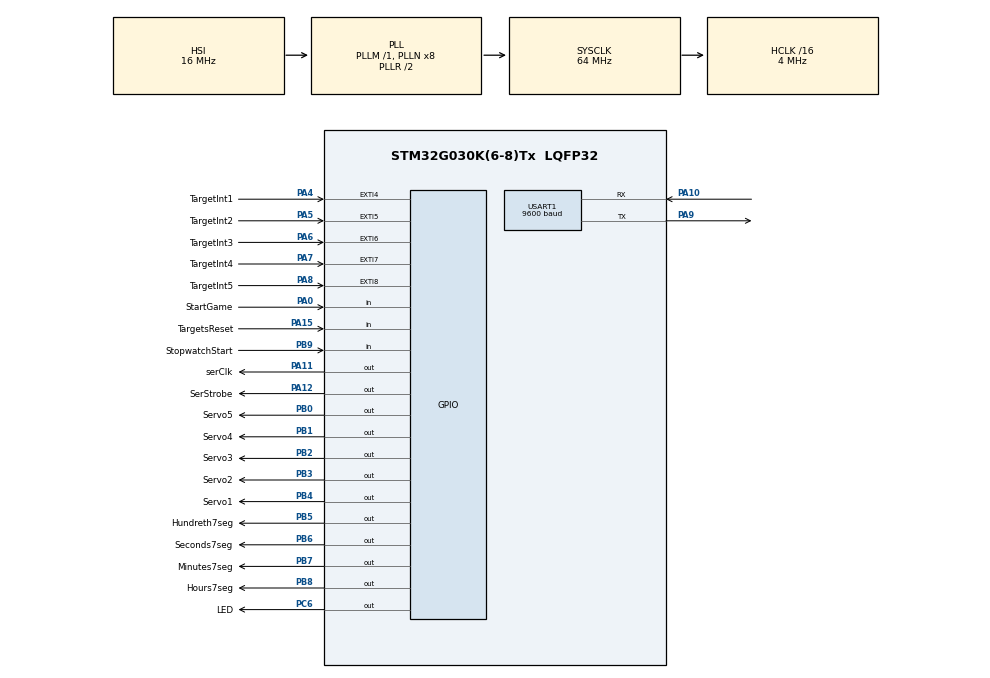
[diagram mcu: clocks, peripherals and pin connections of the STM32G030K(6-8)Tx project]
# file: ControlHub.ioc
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Mcu.Family=STM32G0
Mcu.Name=STM32G030K(6-8)Tx
Mcu.Package=LQFP32
NVIC.EXTI4_15_IRQn=true\:0\:0\:false\:false\:true\:true\:true\:true
NVIC.USART1_IRQn=true\:0\:0\:false\:false\:true\:true\:true\:true
PA0.GPIO_Label=StartGame
PA0.GPIO_PuPd=GPIO_PULLUP
PA0.Signal=GPIO_Input
PA10.Mode=Asynchronous
PA10.Signal=USART1_RX
PA11\ [PA9].GPIO_Label=serClk
PA11\ [PA9].Signal=GPIO_Output
PA12\ [PA10].GPIO_Label=SerStrobe
PA12\ [PA10].Signal=GPIO_Output
PA15.GPIO_Label=TargetsReset
PA15.Signal=GPIO_Input
PA4.GPIO_Label=TargetInt1
PA4.GPIO_PuPd=GPIO_PULLDOWN
PA4.Signal=GPXTI4
PA5.GPIO_Label=TargetInt2
PA5.GPIO_PuPd=GPIO_PULLDOWN
PA5.Signal=GPXTI5
PA6.GPIO_Label=TargetInt3
PA6.GPIO_PuPd=GPIO_PULLDOWN
PA6.Signal=GPXTI6
PA7.GPIO_Label=TargetInt4
PA7.GPIO_PuPd=GPIO_PULLDOWN
PA7.Signal=GPXTI7
PA8.GPIO_Label=TargetInt5
PA8.GPIO_PuPd=GPIO_PULLDOWN
PA8.Signal=GPXTI8
PA9.Mode=Asynchronous
PA9.Signal=USART1_TX
PB0.GPIO_Label=Servo5
PB0.Signal=GPIO_Output
PB1.GPIO_Label=Servo4
PB1.Signal=GPIO_Output
PB2.GPIO_Label=Servo3
PB2.PinState=GPIO_PIN_SET
PB2.Signal=GPIO_Output
PB3.GPIO_Label=Servo2
PB3.PinState=GPIO_PIN_RESET
PB3.Signal=GPIO_Output
PB4.GPIO_Label=Servo1
PB4.PinState=GPIO_PIN_RESET
PB4.Signal=GPIO_Output
PB5.GPIO_Label=Hundreth7seg
PB5.Signal=GPIO_Output
PB6.GPIO_Label=Seconds7seg
PB6.Signal=GPIO_Output
PB7.GPIO_Label=Minutes7seg
PB7.Signal=GPIO_Output
PB8.GPIO_Label=Hours7seg
PB8.Signal=GPIO_Output
PB9.GPIO_Label=StopwatchStart
PB9.Signal=GPIO_Input
PC6.GPIO_Label=LED
PC6.Signal=GPIO_Output
ProjectManager.HeapSize=0x200
ProjectManager.StackSize=0x400
ProjectManager.TargetToolchain=STM32CubeIDE
RCC.ADCFreq_Value=64000000
RCC.AHBCLKDivider=RCC_SYSCLK_DIV16
RCC.AHBFreq_Value=4000000
RCC.APB1CLKDivider=RCC_HCLK_DIV8
RCC.CortexFreq_Value=4000000
RCC.EXTERNAL_CLOCK_VALUE=12288000
RCC.HCLKFreq_Value=4000000
RCC.HSE_VALUE=8000000
RCC.HSI_VALUE=16000000
RCC.LSE_VALUE=32768
RCC.SYSCLKFreq_VALUE=64000000
RCC.SYSCLKSource=RCC_SYSCLKSOURCE_PLLCLK
RCC.VCOOutputFreq_Value=128000000
USART1.BaudRate=9600
USART1.VirtualMode-Asynchronous=VM_ASYNC
VP_TIM16_VS_ClockSourceINT.Mode=Enable_Timer
board=custom

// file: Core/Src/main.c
/* USER CODE BEGIN Header */
/**
  ******************************************************************************
  * @file           : main.c
  * @brief          : Main program body
  ******************************************************************************
  * @attention
  *
  * Copyright (c) 2024 STMicroelectronics.
  * All rights reserved.
  *
  * This software is licensed under terms that can be found in the LICENSE file
  * in the root directory of this software component.
  * If no LICENSE file comes with this software, it is provided AS-IS.
  *
  ******************************************************************************
  ******************************************************************************
  * Software intended for the ST32G030K6T6 MCU for Biathlon Toy Targets, version
  * 2.0 2024.
  *
  * MCU resources in use:
  * SWDIO & SWCLK for ST-Link communication.
  * 2 GPIOs for UART communication for debug
  * 5 GPIOs for external interrupts
  * 5 GPIOs for operating 5 individual analog servo-motors.
  * 2 GPIOs for detecting Game Start and Game Reset.
  * 6 GPIOs for sending data to 4 dual big 7-Segment displays for time
  * measurement. 2 common lines for clock and strobe and 4 GPIOs for serial
  * data.
  *
  * Internal Timer for microseconds delay
  *
  */
/* USER CODE END Header */
#include "main.h"

/* USER CODE BEGIN PD */
#define TARGET_HIT 1
#define COVER_RESET 0
#define ALL_HIT 0x001f
#define SHOW_RESULT_DURATION 3000 //*0.004 = 12 sec. - should be sufficient.
#define ONE_HOUR 3600000
#define ONE_MINUTE 60000
#define GET_SYS_TICK
// the result is shown, if all targets has been hit.

/* USER CODE END PD */

TIM_HandleTypeDef htim16;

UART_HandleTypeDef huart1;

void SystemClock_Config(void);
static void MX_GPIO_Init(void);
static void MX_USART1_UART_Init(void);
static void MX_TIM16_Init(void);
/* USER CODE BEGIN PFP */

int _write(int fd, char *ptr, int len) {
	//HAL_UART_Transmit(&huart1, (uint8_t *) ptr, len, HAL_MAX_DELAY);
	HAL_UART_Transmit(&huart1, (uint8_t*) ptr, len, 1000);
	return len;
}

/* USER CODE END PFP */

/* USER CODE BEGIN 0 */
uint8_t UART1_rxBuffer = 0;
uint8_t cmdComplete;
char termInputBuffer[80];
int bytesReceived = 0;
uint16_t targetState;
uint16_t targetHitIndication = 0;

enum stop_watch_state {
   RUNNING,
   STOPPED,
   RESET_
} stopWatchState = RESET_;

// The HAL_UART_TxCpltCallback(), HAL_UART_RxCpltCallback() user callbacks
// will be executed respectively at the end of the transmit or Receive process
// ref. stm32g0xx_hal_uart.c line 1037.
#ifdef UART_RX_READY
void HAL_UART_RxCpltCallback(UART_HandleTypeDef *huart) {
	if (UART1_rxBuffer == 13) {
		if (bytesReceived > 0) {
			//executeCmd(&termInputBuffer[0], bytesReceived);
			bytesReceived = 0;
			memset(termInputBuffer, 0, 80);
		} else {
			promt();
		}
		HAL_UART_Receive_IT(&huart1, &UART1_rxBuffer, 1);
		return;
	}
	HAL_UART_Transmit(&huart1, &UART1_rxBuffer, 1, 100);
	termInputBuffer[bytesReceived] = UART1_rxBuffer;
	bytesReceived++;
	// re-trigger the interrupt...
	HAL_UART_Receive_IT(&huart1, &UART1_rxBuffer, 1);
}
#endif

void delay_us(volatile uint16_t au16_us)
{
   htim16.Instance->CNT = 0;
   while (htim16.Instance->CNT < au16_us);
}

// delay_us(2200); max counterclockwise (165 degrees)
// delay_us(1300); middle? (90 degrees)
void coverReset(uint16_t servoPin) {
   for (int i=0; i<20; i++) {
      HAL_GPIO_WritePin(GPIOB, servoPin, GPIO_PIN_SET); // RESET for neg-logic for level conversion...
      delay_us(2000);
      HAL_GPIO_WritePin(GPIOB, servoPin, GPIO_PIN_RESET); // SET for neg-logic for level conversion...
      HAL_Delay(18);
   }
   targetState &= ~servoPin;
}

void resetAllTargets(void) {
   for (int i=0; i<5; i++)
      coverReset(1<<i);
}

void HAL_GPIO_EXTI_Rising_Callback(uint16_t GPIO_Pin) {
   // See https://www.geeksforgeeks.org/c-switch-statement/ especially for how
   // the flowchart for the switch-statement is drawn...
   //uint8_t target = 0;

   if (targetHitIndication != 0)
      return;

   switch (GPIO_Pin) {
      case TargetInt1_Pin:
         //target = 5;
         targetHitIndication = Servo1_Pin;
         targetState |= targetHitIndication;
         break;
      case TargetInt2_Pin:
         //target = 4;
         targetHitIndication = Servo2_Pin;
         targetState |= targetHitIndication;
         break;
      case TargetInt3_Pin:
         //target = 3;
         targetHitIndication = Servo3_Pin;
         targetState |= targetHitIndication;
         break;
      case TargetInt4_Pin:
         //target = 2;
         targetHitIndication = Servo4_Pin;
         targetState |= targetHitIndication;
         break;
      case TargetInt5_Pin:
         //target = 1;
         targetHitIndication = Servo5_Pin;
         targetState |= targetHitIndication;
         break;
      default:
         break;
   }
}

// Common cathode
// 7-segment digit   0    1    2    3    4    5    6    7    8    9
uint8_t ssCode[] = {0x3f,0x06,0x5b,0x4f,0x66,0x6d,0x7d,0x07,0x7f,0x67};

void printStopwatchTime(uint16_t fourDigitNumber, uint16_t hourMinutes) {
   uint16_t modulo = 10;
   uint16_t digitPos = 1;

   uint8_t digits[4];
   uint8_t hDigits[4];

   // Extract digits to send
   for (int i = 0; i < 3; i++) {
      digits[i] = (fourDigitNumber%modulo)/digitPos;
      hDigits[i] = (hourMinutes%modulo)/digitPos;
      digitPos *= 10;
      modulo *= 10;
   }
   digits[3] = fourDigitNumber/digitPos;
   hDigits[3] = hourMinutes/digitPos;
   //printf("Time duration from start: %d%d:%d%d:%d%d.%d%d s\r\n", hDigits[3], hDigits[2], hDigits[1], hDigits[0], digits[3],digits[2],digits[1],digits[0]);
   printf("Time used: %d%d:%d%d:%d%d.%d%d s\r\n", hDigits[3], hDigits[2], hDigits[1], hDigits[0], digits[3],digits[2],digits[1],digits[0]);
}

void displayGameTime(uint16_t fourDigitNumber, uint16_t hourMinutes) {
   uint8_t sLine1 = 0;  // Hundredth
   uint8_t sLine2 = 0;  // Seconds
   uint8_t sLine3 = 0;  // Minutes
   uint8_t sLine4 = 0;  // Hours

   uint8_t element = 0;
   uint16_t modulo = 10;
   uint16_t digitPos = 1;

   uint8_t digits[4];
   uint8_t hDigits[4];

   // Extract digits to send
   for (int i = 0; i < 3; i++) {
      digits[i] = (fourDigitNumber%modulo)/digitPos;
      hDigits[i] = (hourMinutes%modulo)/digitPos;
      digitPos *= 10;
      modulo *= 10;
   }
   digits[3] = fourDigitNumber/digitPos;
   hDigits[3] = hourMinutes/digitPos;
   //printf("Digit string to send: %d %d %d %d\r\n", digits[3],digits[2],digits[1],digits[0]);
   //uint8_t digit = fourDigitNumber%modulo;

   // Start sending
   while (element < 2) {
      for (int i = 0; i < 8; i++) {
         // msb (most significant bit) on the line first => big endian (lowest value at the highest address at the receiving side)
         sLine1 = (ssCode[digits[element]] >> (7-i)) & 0x1;
         sLine2 = (ssCode[digits[element+2]] >> (7-i)) & 0x1;

         sLine3 = (ssCode[hDigits[element]] >> (7-i)) & 0x1;
         sLine4 = (ssCode[hDigits[element+2]] >> (7-i)) & 0x1;

         // Data on sData_Pin
         HAL_GPIO_WritePin(GPIOB, Hundreth7seg_Pin, sLine1); //PC1 <=> D-SUB#4 = Orange&White = DATA for display element 1
         HAL_GPIO_WritePin(GPIOB, Seconds7seg_Pin, sLine2); //PC3 <=> D-SUB#4 = Green&White = DATA for display element 2

         HAL_GPIO_WritePin(GPIOB, Minutes7seg_Pin, sLine3); //PC1 <=> D-SUB#4 = Orange&White = DATA for display element 1
         HAL_GPIO_WritePin(GPIOB, Hours7seg_Pin, sLine4); //PC3 <=> D-SUB#4 = Green&White = DATA for display element 2

         delay_us(250);
         // Clock goes HIGH latching the data Neg. Logic
         HAL_GPIO_WritePin(GPIOA, serClk_Pin, GPIO_PIN_SET); //PC0 <=> D-SUB#5 = Green = CLK
         //HAL_Delay(delay);
         delay_us(250);
         //
         HAL_GPIO_WritePin(GPIOA, serClk_Pin, GPIO_PIN_RESET);
         //HAL_Delay(delay);
         delay_us(250);
      }
      element++;
   }
   // Transmission done - strobe / latch new data onto the output on the shift registers.
   HAL_GPIO_WritePin(GPIOA, SerStrobe_Pin, GPIO_PIN_SET); //PC2 <=> D-SUB#3 = Orange = STROBE
   HAL_Delay(1);
   HAL_GPIO_WritePin(GPIOA, SerStrobe_Pin, GPIO_PIN_RESET);
}

void clearDisplay() {
   uint8_t element = 0;

   while (element < 2) {
      for (int i = 0; i < 8; i++) {
         // Data on sData_Pin...it is expected that sending all zeros ('0') will blank the display...
         HAL_GPIO_WritePin(GPIOB, Hundreth7seg_Pin, 0); //PC1 <=> D-SUB#4 = Orange&White = DATA for display element 1
         HAL_GPIO_WritePin(GPIOB, Seconds7seg_Pin, 0); //PC3 <=> D-SUB#4 = Green&White = DATA for display element 2

         HAL_GPIO_WritePin(GPIOB, Minutes7seg_Pin, 0); //PC1 <=> D-SUB#4 = Orange&White = DATA for display element 1
         HAL_GPIO_WritePin(GPIOB, Hours7seg_Pin, 0); //PC3 <=> D-SUB#4 = Green&White = DATA for display element 2

         delay_us(250);
         // Clock goes HIGH latching the data Neg. Logic
         HAL_GPIO_WritePin(GPIOA, serClk_Pin, GPIO_PIN_SET); //PC0 <=> D-SUB#5 = Green = CLK
         //HAL_Delay(delay);
         delay_us(250);
         //
         HAL_GPIO_WritePin(GPIOA, serClk_Pin, GPIO_PIN_RESET);
         //HAL_Delay(delay);
         delay_us(250);
      }
      element++;
   }
   // Transmission done - strobe / latch new data onto the output on the shift registers.
   HAL_GPIO_WritePin(GPIOA, SerStrobe_Pin, GPIO_PIN_SET); //PC2 <=> D-SUB#3 = Orange = STROBE
   HAL_Delay(1);
   HAL_GPIO_WritePin(GPIOA, SerStrobe_Pin, GPIO_PIN_RESET);
}

/* USER CODE END 0 */

int main(void)
{
  /* USER CODE BEGIN 1 */
   uint8_t onStand = 0;
   uint8_t servoPulses = 0;
   uint16_t stopWachTime = 0;
   uint16_t showResultDuration = 0;

   uint8_t minutes = 0;
   uint8_t hours = 0;
   uint16_t hoursAndMinutes = 0;

   uint32_t startTime;
   uint32_t elapsedTime = 0;
   uint32_t elapsedSeconds = 0;
   uint32_t elapsedMinutes = 0;

   uint8_t c = 0;
   uint8_t displayCleared = 0;
  /* USER CODE END 1 */

  /* MCU Configuration--------------------------------------------------------*/

  /* Reset of all peripherals, Initializes the Flash interface and the Systick. */
  HAL_Init();

  /* Configure the system clock */
  SystemClock_Config();

  /* Initialize all configured peripherals */
  MX_GPIO_Init();
  MX_USART1_UART_Init();
  MX_TIM16_Init();
  /* USER CODE BEGIN 2 */
   printf("\r\nControl Hub initialized. Version: %d.%d - Build: %d\r\n",
         MAJOR_VERSION, MINOR_VERSION, BUILD);
   HAL_TIM_Base_Start(&htim16);
   stopWatchState = RESET_;
   HAL_GPIO_WritePin(LED_GPIO_Port, LED_Pin, GPIO_PIN_SET);
   resetAllTargets();
   targetState = 0;
  /* USER CODE END 2 */

  /* Infinite loop */
   while (1) {

    /* USER CODE BEGIN 3 */
      // We'll monitor the floor/stand switch to determine when the game is running.
      if (HAL_GPIO_ReadPin(StopwatchStart_GPIO_Port, StopwatchStart_Pin) == GPIO_PIN_SET) {
         if ((onStand == 0) && (stopWatchState == RESET_)) {
            stopWatchState = RUNNING;
            printf("Game started\r\n");
            onStand = 1;
            startTime = HAL_GetTick();
         }

         if (stopWatchState == RUNNING) {
            // if a hit is registered and the servo is activated then an additional
            // 500 ms must be added to the stopwatch time... - can this be part of the stopwatch loop?

            if (targetHitIndication != 0) {
               // ...meaning that the operation to cover the target are in progress.

               HAL_GPIO_WritePin(GPIOB, targetHitIndication, GPIO_PIN_SET); // RESET for neg-logic for level conversion...
               // Target hit! Cover the target.
               delay_us(1000);
               HAL_GPIO_WritePin(GPIOB, targetHitIndication, GPIO_PIN_RESET); // SET for neg-logic for level conversion...
               HAL_Delay(10); // this while loop takes approximately 10 ms, so an additional 10 ms is added to comply with the servo requirements of a pwm-frequency of 50 Hz.
               stopWachTime++;

               if (++servoPulses > 20) {
                  // The target is completely closed
                  //targetState |= targetHitIndication; // <-- this is done in the isr.
                  for (int i = 0; i < 5; i++) {
                     if (targetHitIndication>>i == 1) {
                        printf("Hit on target: %d\r\n", i+1);
                        break;
                     }
                  }
                  targetHitIndication = 0; // ... meaning that the recently hit target is now covered, and a new hit can be detected.
                  servoPulses = 0;
                  if (targetState == ALL_HIT) {
                     stopWatchState = STOPPED;
                     // Start timer for showing the result for approximately 20 seconds...
                     showResultDuration = 0;
                     //endTime = HAL_GetTick() - startTime;
                     printStopwatchTime(elapsedSeconds, elapsedMinutes);
                     //printf("\r\nendTime = %d[ms]\r\n", (int)endTime);
                  }
               }
            }
            stopWachTime+=2;

            if (stopWachTime > 5999) {
               stopWachTime = 0;
               if (++minutes > 59) {
                  minutes = 0;
                  if (++hours > 23) {
                     hours = 0;
                  }
               }
               hoursAndMinutes = hours * 100 + minutes;
            }

            if (targetState != ALL_HIT) {
#ifndef GET_SYS_TICK
               displayGameTime(stopWachTime, hoursAndMinutes);
#else
               /*** NEW TIMING CODE ***/
               elapsedTime = HAL_GetTick() - startTime;
               if (elapsedTime < ONE_HOUR) {
                  elapsedMinutes = elapsedTime/ONE_MINUTE;
                  elapsedSeconds = (elapsedTime%ONE_MINUTE)/10; // need only hundredth of a second...
                  displayGameTime((uint16_t)elapsedSeconds, (uint16_t)elapsedMinutes);
               }
#endif
            }

         } else if (stopWatchState == STOPPED) {
            if (showResultDuration++ > SHOW_RESULT_DURATION) { // The player have 30 sec. to get of the target-stand.
               stopWachTime = 0;
               hoursAndMinutes = 0;
               displayGameTime(stopWachTime, hoursAndMinutes);
               stopWatchState = RESET_;
               resetAllTargets();
               targetState = 0;
               //onStand = 0;
               printf("New game!\r\n");
            }
         }
         HAL_Delay(4);

      } else {
         /* Two conditions can occur when no one is standing on the target-
          * range stand.
          * 1. Game not started. All targets are  shown.
          * 2. Game running as the result of the target-range stand has been
          * activated by the gamer, but the gamer has stepped off the stand
          * before all targets has been hit.
          * When this happens, the stopwatch display is not updated and the
          * running time is stopped and printed on the debug port.
          * After 10 seconds the system will reset any covered target and make
          * the targets ready for a new game.
          */
         if ((onStand == 1) && (stopWatchState == RUNNING)) {
            printf("\r\nDisrupted game after ");
#ifndef GET_SYS_TICK
            printStopwatchTime(stopWachTime, hoursAndMinutes);
            stopWachTime = 0;
            hoursAndMinutes = 0;
#else
            /*** NEW TIMING CODE ***/
            elapsedTime = HAL_GetTick() - startTime;
            if (elapsedTime < ONE_HOUR) {
               elapsedMinutes = elapsedTime/ONE_MINUTE;
               elapsedSeconds = (elapsedTime%ONE_MINUTE)/10; // need only hundredth of a second...
               printStopwatchTime((uint16_t)elapsedSeconds, (uint16_t)elapsedMinutes);
            }
#endif
            onStand = 0;
            HAL_Delay(5000);
            stopWachTime = 0;
            hoursAndMinutes = 0;
            displayGameTime(stopWachTime, hoursAndMinutes);
            // Check if any of the targets are covered.
            if (targetState != 0) {
               resetAllTargets();
               targetState = 0;
            }
            stopWatchState = RESET_;
            printf("\r\nReset!\r\n");
         }
         else if (stopWatchState == STOPPED) {
            if (showResultDuration++ > SHOW_RESULT_DURATION) {
               stopWachTime = 0;
               hoursAndMinutes = 0;
               displayGameTime(stopWachTime, hoursAndMinutes);
               stopWatchState = RESET_;
               resetAllTargets();
               targetState = 0;
               onStand = 0;
               printf("New game!\r\n");
            }
            HAL_Delay(4);
         }
         else if ((stopWatchState == RESET_) && (onStand == 1)) {
            onStand = 0;
         }
         else {
            HAL_Delay(10);
            if (++c > 100) {
               c=0;
               HAL_GPIO_TogglePin(LED_GPIO_Port, LED_Pin);

               if (displayCleared == 1) {
                  displayGameTime(0,0);
                  displayCleared = 0;
               }
               else {
                  clearDisplay();
                  displayCleared = 1;
               }
            }
         }
      }
   }
  /* USER CODE END 3 */
}

void SystemClock_Config(void)
{
  RCC_OscInitTypeDef RCC_OscInitStruct = {0};
  RCC_ClkInitTypeDef RCC_ClkInitStruct = {0};

  /** Configure the main internal regulator output voltage
  */
  HAL_PWREx_ControlVoltageScaling(PWR_REGULATOR_VOLTAGE_SCALE1);

  /** Initializes the RCC Oscillators according to the specified parameters
  * in the RCC_OscInitTypeDef structure.
  */
  RCC_OscInitStruct.OscillatorType = RCC_OSCILLATORTYPE_HSI;
  RCC_OscInitStruct.HSIState = RCC_HSI_ON;
  RCC_OscInitStruct.HSIDiv = RCC_HSI_DIV1;
  RCC_OscInitStruct.HSICalibrationValue = RCC_HSICALIBRATION_DEFAULT;
  RCC_OscInitStruct.PLL.PLLState = RCC_PLL_ON;
  RCC_OscInitStruct.PLL.PLLSource = RCC_PLLSOURCE_HSI;
  RCC_OscInitStruct.PLL.PLLM = RCC_PLLM_DIV1;
  RCC_OscInitStruct.PLL.PLLN = 8;
  RCC_OscInitStruct.PLL.PLLP = RCC_PLLP_DIV2;
  RCC_OscInitStruct.PLL.PLLR = RCC_PLLR_DIV2;
  if (HAL_RCC_OscConfig(&RCC_OscInitStruct) != HAL_OK)
  {
    Error_Handler();
  }

  /** Initializes the CPU, AHB and APB buses clocks
  */
  RCC_ClkInitStruct.ClockType = RCC_CLOCKTYPE_HCLK|RCC_CLOCKTYPE_SYSCLK
                              |RCC_CLOCKTYPE_PCLK1;
  RCC_ClkInitStruct.SYSCLKSource = RCC_SYSCLKSOURCE_PLLCLK;
  RCC_ClkInitStruct.AHBCLKDivider = RCC_SYSCLK_DIV16;
  RCC_ClkInitStruct.APB1CLKDivider = RCC_HCLK_DIV8;

  if (HAL_RCC_ClockConfig(&RCC_ClkInitStruct, FLASH_LATENCY_0) != HAL_OK)
  {
    Error_Handler();
  }
}

static void MX_TIM16_Init(void)
{

  htim16.Instance = TIM16;
  htim16.Init.Prescaler = 0;
  htim16.Init.CounterMode = TIM_COUNTERMODE_UP;
  htim16.Init.Period = 65535;
  htim16.Init.ClockDivision = TIM_CLOCKDIVISION_DIV1;
  htim16.Init.RepetitionCounter = 0;
  htim16.Init.AutoReloadPreload = TIM_AUTORELOAD_PRELOAD_DISABLE;
  if (HAL_TIM_Base_Init(&htim16) != HAL_OK)
  {
    Error_Handler();
  }

}

static void MX_USART1_UART_Init(void)
{

  huart1.Instance = USART1;
  huart1.Init.BaudRate = 9600;
  huart1.Init.WordLength = UART_WORDLENGTH_8B;
  huart1.Init.StopBits = UART_STOPBITS_1;
  huart1.Init.Parity = UART_PARITY_NONE;
  huart1.Init.Mode = UART_MODE_TX_RX;
  huart1.Init.HwFlowCtl = UART_HWCONTROL_NONE;
  huart1.Init.OverSampling = UART_OVERSAMPLING_16;
  huart1.Init.OneBitSampling = UART_ONE_BIT_SAMPLE_DISABLE;
  huart1.Init.ClockPrescaler = UART_PRESCALER_DIV1;
  huart1.AdvancedInit.AdvFeatureInit = UART_ADVFEATURE_NO_INIT;
  if (HAL_UART_Init(&huart1) != HAL_OK)
  {
    Error_Handler();
  }
  if (HAL_UARTEx_SetTxFifoThreshold(&huart1, UART_TXFIFO_THRESHOLD_1_8) != HAL_OK)
  {
    Error_Handler();
  }
  if (HAL_UARTEx_SetRxFifoThreshold(&huart1, UART_RXFIFO_THRESHOLD_1_8) != HAL_OK)
  {
    Error_Handler();
  }
  if (HAL_UARTEx_DisableFifoMode(&huart1) != HAL_OK)
  {
    Error_Handler();
  }

}

static void MX_GPIO_Init(void)
{
  GPIO_InitTypeDef GPIO_InitStruct = {0};

  /* GPIO Ports Clock Enable */
  __HAL_RCC_GPIOB_CLK_ENABLE();
  __HAL_RCC_GPIOA_CLK_ENABLE();
  __HAL_RCC_GPIOC_CLK_ENABLE();

  /*Configure GPIO pin Output Level */
  HAL_GPIO_WritePin(GPIOB, Servo5_Pin|Servo4_Pin|Servo2_Pin|Servo1_Pin
                          |Hundreth7seg_Pin|Seconds7seg_Pin|Minutes7seg_Pin|Hours7seg_Pin, GPIO_PIN_RESET);

  /*Configure GPIO pin Output Level */
  HAL_GPIO_WritePin(Servo3_GPIO_Port, Servo3_Pin, GPIO_PIN_SET);

  /*Configure GPIO pin Output Level */
  HAL_GPIO_WritePin(LED_GPIO_Port, LED_Pin, GPIO_PIN_RESET);

  /*Configure GPIO pin Output Level */
  HAL_GPIO_WritePin(GPIOA, serClk_Pin|SerStrobe_Pin, GPIO_PIN_RESET);

  /*Configure GPIO pin : StopwatchStart_Pin */
  GPIO_InitStruct.Pin = StopwatchStart_Pin;
  GPIO_InitStruct.Mode = GPIO_MODE_INPUT;
  GPIO_InitStruct.Pull = GPIO_NOPULL;
  HAL_GPIO_Init(StopwatchStart_GPIO_Port, &GPIO_InitStruct);

  /*Configure GPIO pin : StartGame_Pin */
  GPIO_InitStruct.Pin = StartGame_Pin;
  GPIO_InitStruct.Mode = GPIO_MODE_INPUT;
  GPIO_InitStruct.Pull = GPIO_PULLUP;
  HAL_GPIO_Init(StartGame_GPIO_Port, &GPIO_InitStruct);

  /*Configure GPIO pins : TargetInt1_Pin TargetInt2_Pin TargetInt3_Pin TargetInt4_Pin
                           TargetInt5_Pin */
  GPIO_InitStruct.Pin = TargetInt1_Pin|TargetInt2_Pin|TargetInt3_Pin|TargetInt4_Pin
                          |TargetInt5_Pin;
  GPIO_InitStruct.Mode = GPIO_MODE_IT_RISING;
  GPIO_InitStruct.Pull = GPIO_PULLDOWN;
  HAL_GPIO_Init(GPIOA, &GPIO_InitStruct);

  /*Configure GPIO pins : Servo5_Pin Servo4_Pin Servo3_Pin Servo2_Pin
                           Servo1_Pin Hundreth7seg_Pin Seconds7seg_Pin Minutes7seg_Pin
                           Hours7seg_Pin */
  GPIO_InitStruct.Pin = Servo5_Pin|Servo4_Pin|Servo3_Pin|Servo2_Pin
                          |Servo1_Pin|Hundreth7seg_Pin|Seconds7seg_Pin|Minutes7seg_Pin
                          |Hours7seg_Pin;
  GPIO_InitStruct.Mode = GPIO_MODE_OUTPUT_PP;
  GPIO_InitStruct.Pull = GPIO_NOPULL;
  GPIO_InitStruct.Speed = GPIO_SPEED_FREQ_LOW;
  HAL_GPIO_Init(GPIOB, &GPIO_InitStruct);

  /*Configure GPIO pin : LED_Pin */
  GPIO_InitStruct.Pin = LED_Pin;
  GPIO_InitStruct.Mode = GPIO_MODE_OUTPUT_PP;
  GPIO_InitStruct.Pull = GPIO_NOPULL;
  GPIO_InitStruct.Speed = GPIO_SPEED_FREQ_LOW;
  HAL_GPIO_Init(LED_GPIO_Port, &GPIO_InitStruct);

  /*Configure GPIO pins : serClk_Pin SerStrobe_Pin */
  GPIO_InitStruct.Pin = serClk_Pin|SerStrobe_Pin;
  GPIO_InitStruct.Mode = GPIO_MODE_OUTPUT_PP;
  GPIO_InitStruct.Pull = GPIO_NOPULL;
  GPIO_InitStruct.Speed = GPIO_SPEED_FREQ_LOW;
  HAL_GPIO_Init(GPIOA, &GPIO_InitStruct);

  /*Configure GPIO pin : TargetsReset_Pin */
  GPIO_InitStruct.Pin = TargetsReset_Pin;
  GPIO_InitStruct.Mode = GPIO_MODE_INPUT;
  GPIO_InitStruct.Pull = GPIO_NOPULL;
  HAL_GPIO_Init(TargetsReset_GPIO_Port, &GPIO_InitStruct);

  /* EXTI interrupt init*/
  HAL_NVIC_SetPriority(EXTI4_15_IRQn, 0, 0);
  HAL_NVIC_EnableIRQ(EXTI4_15_IRQn);

}

void Error_Handler(void)
{
  __disable_irq();
  while (1)
  {
  }
}
